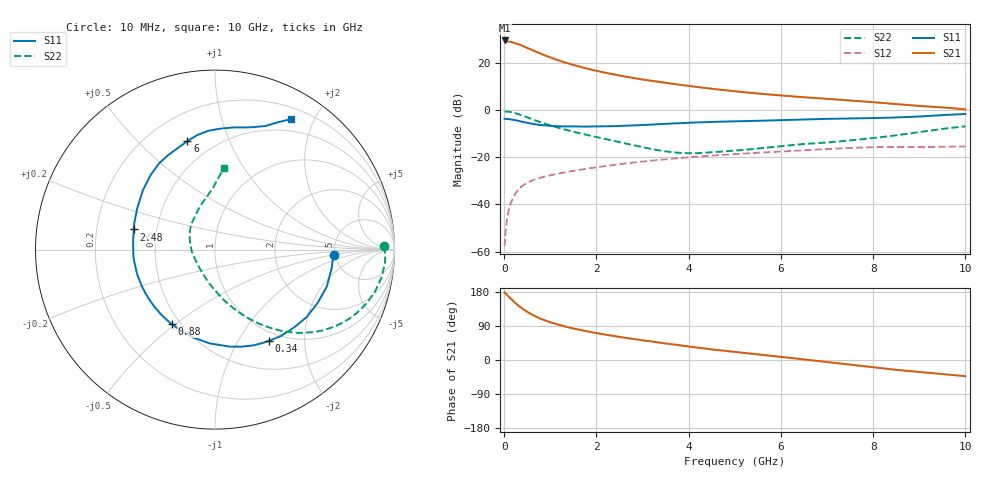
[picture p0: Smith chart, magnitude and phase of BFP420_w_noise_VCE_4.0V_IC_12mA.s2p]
! Infineon Technologies  Discrete & RF Semiconductors
! BFP420
! VCE =  4.0 V,  IC =  12 mA
! Common Emitter S-Parameters:  Jan 2016
# GHz  S  MA  R  50
!  f  S11  S21  S12  S22
! GHz  MAG  ANG  MAG  ANG  MAG  ANG  MAG  ANG
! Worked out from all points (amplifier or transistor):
!   233 points, 10 MHz to 10 GHz, reference 50 ohm
!   highest |S21| = 29.8 dB at 10 MHz (marker M1)
!   |S21| within 3 dB of that: start of sweep to 480.7 MHz
!   unconditionally stable (mu >= 1): start of sweep to 16.9 MHz; 2.226 GHz to end of sweep
!   at 200 MHz: K = 0.24, MSG = 32.9 dB, |S12| = -36.8 dB
!   at 1.74 GHz: K = 0.88, MSG = 21.5 dB, |S12| = -24.9 dB
!   at 10 GHz: K = 1.08, MAG = 6.1 dB, |S12| = -15.3 dB
!   lowest NFmin = 0.95 dB at 900 MHz
!   S11 on the Smith chart (normalised r, x): 10 MHz: 4.86, -0.52; 340 MHz: 0.87, -1.36; 880 MHz: 0.45, -0.48; 2.48 GHz: 0.37, +0.11; 6 GHz: 0.36, +0.71; 10 GHz: 0.34, +1.68
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0.01  0.6621 -2.6  30.76 178.7  0.0013 36.2  0.9409 1.1
0.02  0.6595 -3.7  29.92 176.9  0.0019 51.6  0.9491 -1.7
0.1  0.6559 -18.5  29.36 167.0  0.0075 72.4  0.9403 -9.7
0.185  0.6353 -33.7  28.05 156.9  0.0134 70.2  0.9052 -17.7
0.26  0.6147 -46.4  26.55 148.5  0.018 66.7  0.8651 -24.1
0.34  0.591 -59.2  24.88 140.6  0.0223 62.8  0.815 -30.2
0.45  0.5603 -74.9  22.45 130.8  0.0272 58.3  0.7446 -37.4
0.6  0.5234 -93.4  19.36 119.8  0.0323 53.8  0.6548 -45.2
0.7  0.5042 -104.1  17.57 113.7  0.0351 51.7  0.6025 -49.4
0.88  0.4796 -120.1  14.87 104.7  0.0394 49.1  0.5246 -55.5
1  0.4703 -129.5  13.4 99.4  0.042 47.9  0.4807 -59.2
1.2  0.4602 -142.5  11.43 92.1  0.046 46.6  0.4209 -64.5
1.4  0.4557 -153.5  9.903 85.9  0.05 45.7  0.3735 -69.2
1.68  0.454 -166.2  8.308 78.4  0.0555 44.7  0.3202 -75.2
2  0.4549 -178.2  6.961 71.1  0.0619 43.4  0.2722 -81.8
2.48  0.4664 166.1  5.574 61.4  0.0715 40.9  0.2137 -93.3
3.4  0.5122 142.9  3.977 45.4  0.0895 35.2  0.1395 -124.4
5.1  0.5892 115.4  2.496 20.0  0.1197 22.3  0.1424 166.0
6  0.6235 104.3  2.08 8.2  0.1339 15.5  0.1743 143.4
6.8  0.6551 95.5  1.819 -2.5  0.1475 8.6  0.2019 127.8
8.4  0.7036 75.4  1.389 -24.6  0.1661 -8.1  0.2874 100.8
10  0.8393 59.9  1.055 -42.7  0.1711 -19.8  0.4595 83.7
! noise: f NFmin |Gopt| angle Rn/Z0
0.9  0.95  0.03  -151  0.13
1.8  1.27  0.13  -152  0.12
2.4  1.38  0.13  -160  0.14
3  1.43  0.22  -145  0.13
4  1.58  0.35  -123  0.17
5  2.03  0.43  -103  0.28
6  2.4  0.47  -91  0.43
